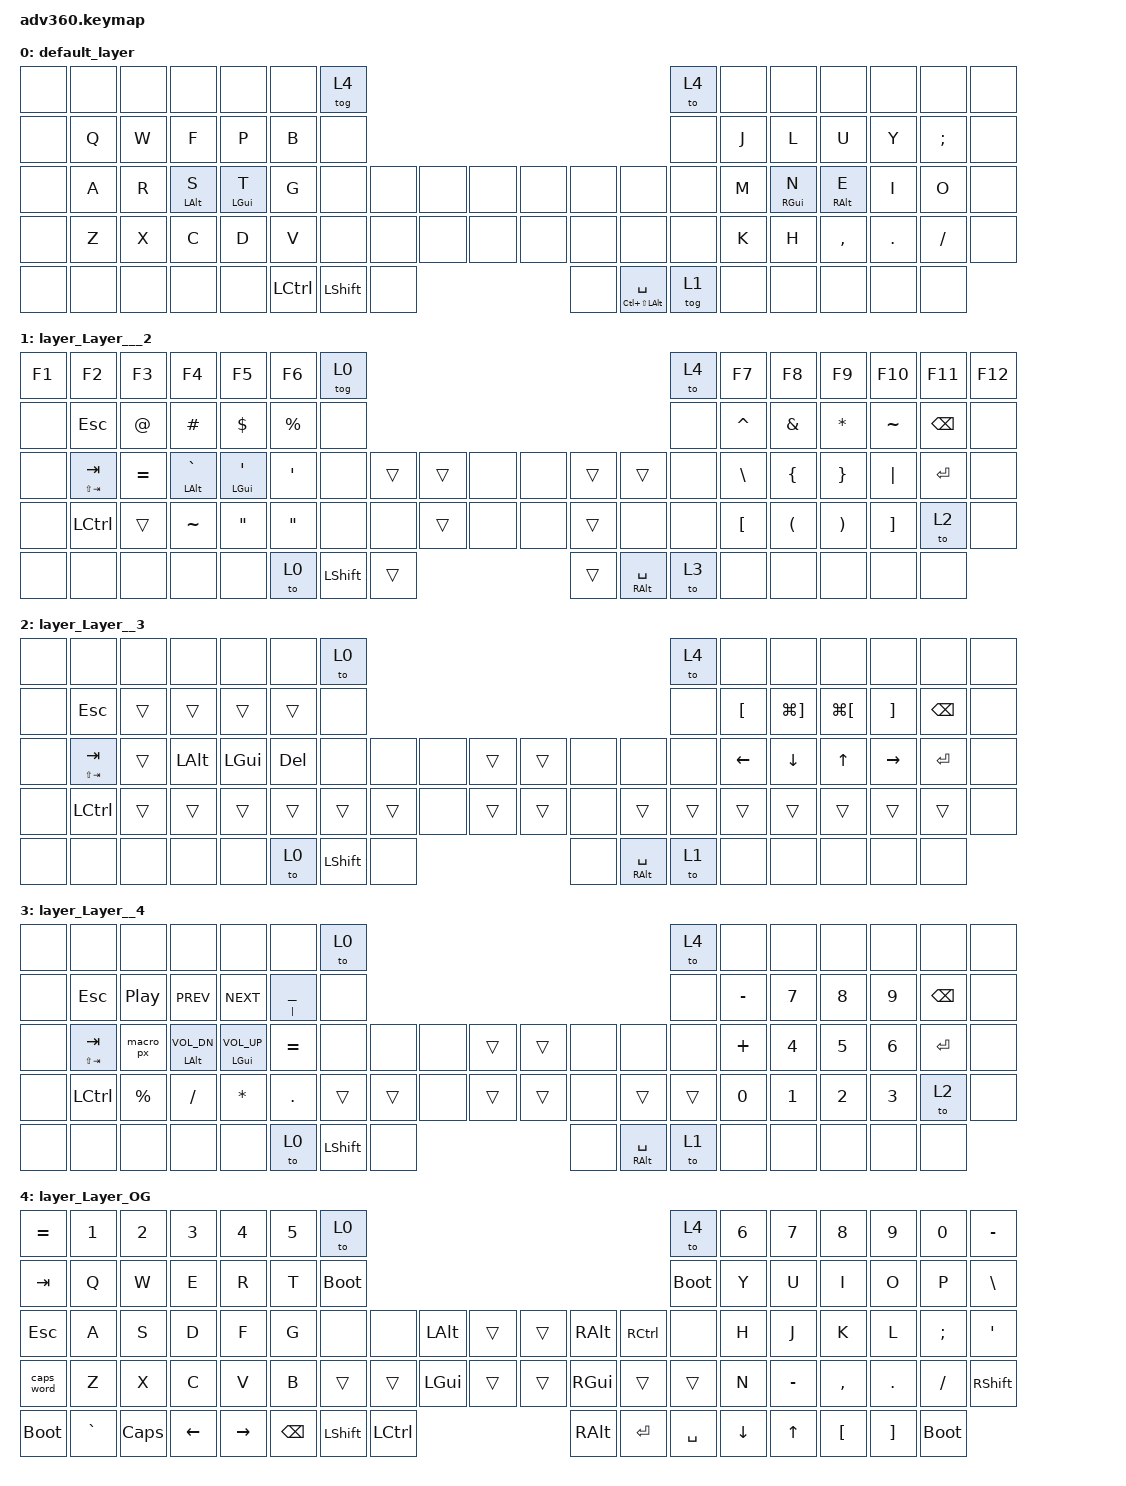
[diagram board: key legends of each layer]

/*
 * Copyright (c) 2020 The ZMK Contributors
 *
 * SPDX-License-Identifier: MIT
 */


/* THIS FILE WAS GENERATED!
 *
 * This file was generated automatically. You may or may not want to
 * edit it directly.
 */

#include <behaviors.dtsi>
#include <dt-bindings/zmk/keys.h>

&mt {
    flavor = "tap-preferred";
    tapping_term_ms = <200>;
};

/ {


	behaviors {
        #include "macros.dtsi"

        hm: homerow_mods {
        compatible = "zmk,behavior-hold-tap";
        label = "HOMEROW_MODS";
        #binding-cells = <2>;
        tapping-term-ms = <200>;
        quick_tap_ms = <175>;
        flavor = "tap-preferred";
        bindings = <&kp>, <&kp>;
    };
    hs: homerow_shifts {
        compatible = "zmk,behavior-hold-tap";
        label = "HOMEROW_SHIFTS";
        #binding-cells = <2>;
        tapping-term-ms = <150>;
        quick_tap_ms = <0>;
        flavor = "balanced";
        bindings = <&kp>, <&kp>;
    };
    hsl: homerow_shifts_layer {
        compatible = "zmk,behavior-hold-tap";
        label = "HOMEROW_SHIFTS_LAYER";
        #binding-cells = <2>;
        tapping-term-ms = <150>;
        quick_tap_ms = <0>;
        flavor = "balanced";
        bindings = <&kp>, <&to>;
    };
    	td: tapdance {
            compatible = "zmk,behavior-hold-tap";
            label = "TAPDANCE";
            #binding-cells = <2>;
            tapping-term-ms = <150>;
            quick_tap_ms = <0>;
            flavor = "tap-preferred";
            bindings = <&kp>, <&kp>;
        };
    bl: layertap {
            compatible = "zmk,behavior-hold-tap";
            label = "LAYERTAP";
            #binding-cells = <2>;
            tapping-term-ms = <150>;
            quick_tap_ms = <0>;
            flavor = "tap-preferred";
            bindings = <&to>, <&kp>;
        };

	};


  combos {
    compatible = "zmk,combos";
    combo_backspace {
      timeout-ms = <50>;
      key-positions = <15 16>;
      bindings = <&kp BACKSPACE>;
      layers = <0>;
    };
    combo_del {
      timeout-ms = <50>;
      key-positions = <26 25>;
      bindings = <&kp DEL>;
      layers = <0>;
    };
    combo_esc { 
      timeout-ms = <50>;
      key-positions = <52 53>;
      bindings = <&kp ESC>;
      layers = <0>;
    };
    combo_ent {
      timeout-ms = <50>;
      key-positions = <49 50>;
      bindings = <&kp RET>;
      layers = <0>;
    };
    combo_layer_3 {
      timeout-ms = <50>;
      key-positions = <64 65>;
      bindings = <&to 3>;
    };
    combo_layer_2 {
      timeout-ms = <50>;
      key-positions = <44 45>;
      bindings = <&to 2>;
    };
    combo_dollar {
      timeout-ms = <50>;
      key-positions = <63 64>;
      bindings = <&kp DOLLAR>;
      layers = <0>;
    };
    combo_n0 {
      timeout-ms = <50>;
      key-positions = <31 32>;
      bindings = <&kp N0>;
      layers = <0>;
    };
    combo_screenshot1 {
      timeout-ms = <50>;
      key-positions = <16 19>;
      bindings = <&kp LS(LG(N4))>;
      layers = <0>;
    };
    combo_minus{
      timeout-ms = <50>;
      key-positions = <42 23>;
      bindings = <&kp MINUS>;
      layers = <0>;
    };
    combo_underscore{
      timeout-ms = <50>;
      key-positions = <42 43>;
      bindings = <&kp UNDERSCORE>;
      layers = <0>;
    };
    combo_excl{
      timeout-ms = <50>;
      key-positions = <65 66>;
      bindings = <&kp EXCL>;
      layers = <0>;
    };
  };

    keymap {
        compatible = "zmk,keymap";


        default_layer {
            bindings = <
  &none   &none   &none         &none         &none   &none               &tog 4                                                                          &to 4   &none         &none          &none      &none            &none      &none  /* 0-13 */
  &none   &kp Q   &kp W         &kp F         &kp P   &kp B               &none                                                                           &none   &kp J         &kp L          &kp U      &kp Y            &kp SEMI   &none  /* 14-27 */
  &none   &kp A   &kp R    &hm LALT S    &hm LGUI T   &kp G               &none           &none   &none   &none   &none   &none                  &none    &none   &kp M    &hm RGUI N     &hm RALT E      &kp I            &kp O      &none  /* 28-47 */
  &none   &kp Z   &kp X         &kp C         &kp D   &kp V               &none           &none   &none   &none   &none   &none                  &none    &none   &kp K         &kp H          &kp COMMA  &kp DOT          &kp SLASH  &none  /* 48-67 */
  &none   &none   &none         &none         &none                       &kp LCTRL &kp LEFT_SHIFT &none                   &none  &mt LC(LS(LALT)) SPACE &tog 1      &none      &none    &none            &none   &none
            >;
        };

        layer_Layer___2 {
            bindings = <
 &kp F1      &kp F2       &kp F3             &kp F4             &kp F5             &kp F6         &tog 0                                                                  &to 4            &kp F7                &kp F8                 &kp F9            &kp F10        &kp F11  &kp F12
  &none  &kp ESCAPE  &kp AT_SIGN           &kp HASH         &kp DOLLAR        &kp PERCENT         &none                                                                  &none         &kp CARET         &kp AMPERSAND           &kp ASTERISK              &kp TILDE  &kp BACKSPACE    &none
  &none   &td LS(TAB) TAB    &kp EQUAL   &hm LALT GRAVE   &hm LGUI SINGLE_QUOTE  &kp SINGLE_QUOTE   &none          &trans  &trans   &none   &none  &trans         &trans   &none     &kp BACKSLASH        &kp LEFT_BRACE        &kp RIGHT_BRACE           &kp PIPE      &kp ENTER    &none
  &none   &kp LCTRL       &trans  &kp TILDE  &kp DOUBLE_QUOTES  &kp DOUBLE_QUOTES     &none           &none  &trans   &none   &none  &trans         &none   &none  &kp LEFT_BRACKET  &kp LEFT_PARENTHESIS  &kp RIGHT_PARENTHESIS  &kp RIGHT_BRACKET          &to 2    &none
  &none       &none        &none              &none              &none                            &to 0 &kp LEFT_SHIFT &trans             &trans &mt RIGHT_ALT SPACE  &to 3   &none    &none     &none          &none    &none
            >;
        };

        layer_Layer__3 {
            bindings = <
  &none    &none   &none   &none   &none    &none             &to 0                                                           &to 4             &none     &none    &none              &none          &none   &none
  &none  &kp ESC  &trans  &trans  &trans   &trans             &none                                                           &none  &kp LEFT_BRACKET   &kp LG(RBKT)  &kp LG(LBKT)  &kp RIGHT_BRACKET  &kp BACKSPACE   &none
  &none  &td LS(TAB) TAB  &trans  &kp LALT  &kp LGUI  &kp DEL     &none    &none   &none  &trans  &trans   &none          &none   &none          &kp LEFT  &kp DOWN   &kp UP          &kp RIGHT      &kp ENTER   &none
  &none  &kp LCTRL   &trans  &trans  &trans   &trans       &trans   &trans   &none  &trans  &trans   &none         &trans  &trans            &trans    &trans   &trans             &trans         &trans   &none
  &none    &none   &none   &none   &none                     &to 0     &kp LEFT_SHIFT     &none                   &none     &mt RIGHT_ALT SPACE &to 1                       &none    &none              &none          &none   &none
            >;
        };

        layer_Layer__4 {
            bindings = <
  &none   &none     &none         &none         &none           &none             &to 0                                                                &to 4      &none   &none         &none   &none          &none   &none
  &none  &kp ESC  &kp C_PP    &kp C_PREV    &kp C_NEXT       &td PIPE UNDERSCORE   &none                                                               &none      &kp MINUS  &kp N7        &kp N8  &kp N9  &kp BACKSPACE   &none
  &none  &td LS(TAB) TAB   &macro_px  &hm LALT C_VOL_DN  &hm LGUI C_VOL_UP        &kp EQUAL             &none         &none   &none  &trans  &trans     &none      &none   &none  &kp PLUS  &kp N4        &kp N5  &kp N6      &kp ENTER   &none
  &none  &kp LCTL &kp PRCNT     &kp SLASH       &kp STAR      &kp PERIOD            &trans        &trans   &none  &trans  &trans   &none         &trans  &trans   &kp N0  &kp N1        &kp N2  &kp N3          &to 2   &none
  &none   &none     &none         &none         &none                             &to 0      &kp LEFT_SHIFT   &none                   &none &mt RIGHT_ALT SPACE   &to 1   &none         &none   &none          &none   &none
            >;
        };

        layer_Layer_OG {
            bindings = <
  &kp EQUAL     &kp N1    &kp N2    &kp N3     &kp N4  &kp N5                    &to 0                                                                              &to 4  &kp N6     &kp N7     &kp N8            &kp N9             &kp N0         &kp MINUS
    &kp TAB      &kp Q     &kp W     &kp E      &kp R   &kp T                    &bootloader                                                                 &bootloader   &kp Y      &kp U      &kp I             &kp O              &kp P     &kp BACKSLASH
    &kp ESC      &kp A     &kp S     &kp D      &kp F   &kp G                    &none           &none  &kp LEFT_ALT  &trans  &trans  &kp RIGHT_ALT  &kp RCTRL      &none   &kp H      &kp J      &kp K             &kp L      &kp SEMICOLON  &kp SINGLE_QUOTE
 &caps_word      &kp Z     &kp X     &kp C      &kp V   &kp B                   &trans          &trans  &kp LEFT_GUI  &trans  &trans  &kp RIGHT_GUI     &trans     &trans   &kp N  &kp MINUS  &kp COMMA        &kp PERIOD          &kp SLASH   &kp RIGHT_SHIFT
      &bootloader  &kp GRAVE  &kp CAPS  &kp LEFT  &kp RIGHT                    &kp BACKSPACE  &kp LEFT_SHIFT     &kp LCTRL                  &kp RIGHT_ALT  &kp ENTER  &kp SPACE           &kp DOWN     &kp UP  &kp LEFT_BRACKET  &kp RIGHT_BRACKET      &bootloader
            >;
        };

    };
};
